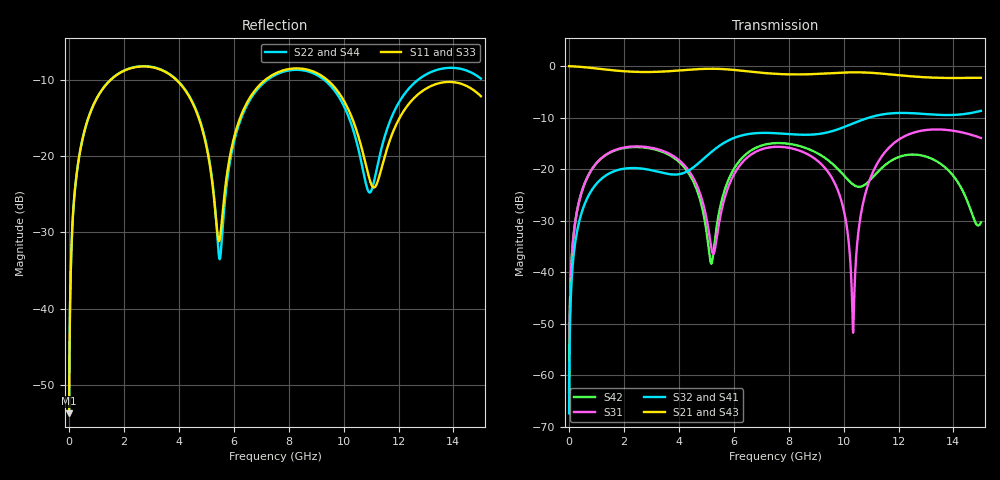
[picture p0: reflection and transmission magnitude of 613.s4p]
! Created with skrf 1.8.0 (http://scikit-rf.org).
# GHz S RI R 50.0
!freq ReS11 ImS11 ReS12 ImS12 ReS13 ImS13
! ReS14 ImS14
! ReS21 ImS21 ReS22 ImS22 ReS23 ImS23
! ReS24 ImS24
! ReS31 ImS31 ReS32 ImS32 ReS33 ImS33
! ReS34 ImS34
! ReS41 ImS41 ReS42 ImS42 ReS43 ImS43
! ReS44 ImS44
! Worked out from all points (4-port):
!   2499 points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, 5 MHz to 15 GHz, reference 50 ohm
!   strongest paths, dB at 5 MHz, 3.476 GHz, 7.19 GHz, 11.1 GHz, 15 GHz:
!     S21: 0.0, -1.0, -1.4, -1.3, -2.3
!     S43: 0.0, -1.0, -1.4, -1.3, -2.3
!     S32: -67.4, -20.8, -13.0, -9.7, -8.7
!     S41: -67.4, -20.8, -13.0, -9.7, -8.7
!     S31: -63.4, -16.6, -15.9, -20.2, -14.0
!     S42: -63.4, -16.8, -15.2, -21.4, -30.3
!   lowest |S11| = -53.8 dB at 5 MHz (marker M1), VSWR 1.00, Z = 50.2 + j0.124 ohm
!   |S11| at or under -10 dB: start of sweep to 1.508 GHz; 3.92 GHz to 7.138 GHz (3.218 GHz wide, 58.2 % of centre); 9.414 GHz to end of sweep
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0.005  0.00164 0.00124  0.9983 -0.00319  8.3e-05 0.000673  -8.05e-05 -0.000418
       0.9983 -0.00319  0.00164 0.00124  -8.05e-05 -0.000418  8.3e-05 0.000673
       8.3e-05 0.000673  -8.05e-05 -0.000418  0.00164 0.00124  0.9983 -0.00319
       -8.05e-05 -0.000418  8.3e-05 0.000673  0.9983 -0.00319  0.00164 0.00124
0.3626511  0.0301 0.093  0.9584 -0.2279  0.015 0.0454  -0.0122 -0.0277
           0.9584 -0.2279  0.0301 0.0929  -0.0122 -0.0277  0.0146 0.0455
           0.015 0.0454  -0.0122 -0.0277  0.0301 0.0929  0.9584 -0.2279
           -0.0122 -0.0277  0.0146 0.0455  0.9584 -0.2279  0.0301 0.0929
1.77574  0.3081 0.1565  0.4548 -0.7781  0.1493 0.0469  -0.0973 0.0105
         0.4548 -0.7781  0.3095 0.1553  -0.0974 0.0106  0.1454 0.0535
         0.1493 0.0469  -0.0974 0.0106  0.308 0.1565  0.4548 -0.7781
         -0.0973 0.0105  0.1454 0.0535  0.4548 -0.7781  0.3095 0.1552
5.483535  0.0278 0.00409  -0.9365 -0.0664  -0.00753 0.0309  -0.00739 0.1685
          -0.9365 -0.0664  0.0211 -0.00164  -0.00648 0.1685  0.0207 0.0344
          -0.00753 0.0309  -0.00648 0.1685  0.0283 0.00523  -0.9365 -0.0658
          -0.00739 0.1685  0.0207 0.0344  -0.9365 -0.0658  0.0205 -0.000483
8.516048  0.3735 -0.0364  0.00538 0.8308  0.1263 -0.0746  0.2068 -0.06
          0.00538 0.8308  0.3654 -0.0326  0.2065 -0.0616  0.1259 -0.1049
          0.1263 -0.0746  0.2065 -0.0616  0.3767 -0.0379  0.00522 0.8293
          0.2068 -0.06  0.1259 -0.1049  0.00522 0.8293  0.3693 -0.0314
10.34806  0.1136 -0.1277  0.7428 0.453  -0.00257 0.000265  0.1402 -0.24
          0.7428 0.453  0.1017 -0.1092  0.1383 -0.241  -0.0628 -0.033
          -0.00257 0.000265  0.1383 -0.241  0.1139 -0.1336  0.741 0.454
          0.1402 -0.24  -0.0628 -0.033  0.741 0.454  0.1074 -0.112
15  0.2411 -0.0585  -0.3391 -0.6913  -0.0796 -0.1841  -0.3304 0.1604
    -0.3391 -0.6913  0.2921 -0.1392  -0.3285 0.1655  -0.0274 -0.0131
    -0.0796 -0.1841  -0.3285 0.1655  0.25 -0.0563  -0.3364 -0.69
    -0.3304 0.1604  -0.0274 -0.0131  -0.3364 -0.69  0.2966 -0.1466
